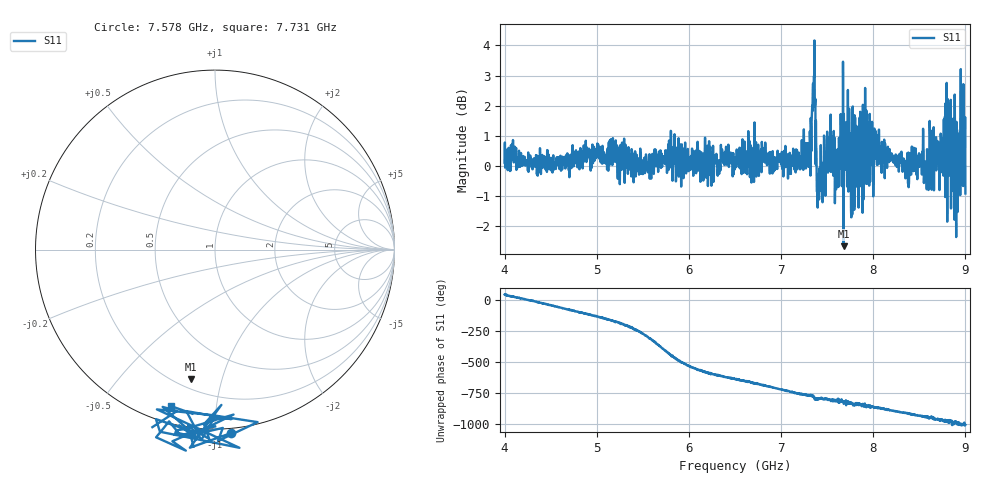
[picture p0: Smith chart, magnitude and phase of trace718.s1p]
! Created with skrf 1.8.0 (http://scikit-rf.org).
# Hz S RI R 50.0
!freq ReS11 ImS11
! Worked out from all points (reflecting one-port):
!   1601 points, 4 GHz to 9 GHz, reference 50 ohm
!   lowest |S11| = -2.7 dB at 7.678 GHz (marker M1), VSWR 6.55, Z = 12.7 - j40 ohm
!   phase of S11 starts at 46 deg and turns -1055 deg over the sweep
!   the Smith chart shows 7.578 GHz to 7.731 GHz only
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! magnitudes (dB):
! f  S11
! 4 GHz  0.1
! 4.625 GHz  -0.1
! 5.009 GHz  0.5
! 5.25 GHz  -0.6
! 5.875 GHz  -0.2
! 6.5 GHz  0.0
! 7.125 GHz  0.1
! 7.294 GHz  0.0
! 7.347 GHz  2.7
! 7.359 GHz  2.9
! 7.394 GHz  -1.0
! 7.412 GHz  -1.1
! 7.522 GHz  0.6
! 7.6 GHz  -0.5
! 7.65 GHz  1.3
! 7.678 GHz  -2.7
! 7.75 GHz  0.0
! 7.784 GHz  0.2
! 7.8 GHz  -1.3
! 7.928 GHz  1.0
! 7.981 GHz  0.0
! 8.375 GHz  -0.2
! 8.522 GHz  0.1
! 8.575 GHz  -0.1
! 8.816 GHz  -0.3
! 8.919 GHz  0.2
! 8.972 GHz  0.7
! 9 GHz  -0.9
